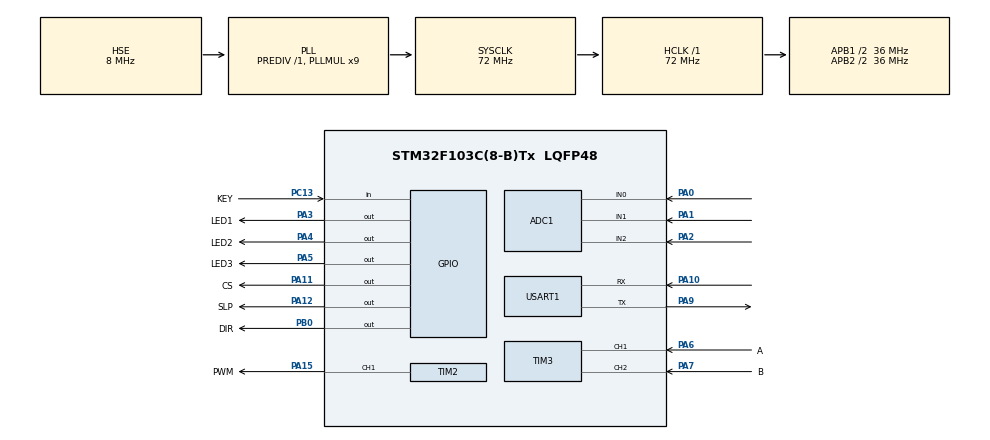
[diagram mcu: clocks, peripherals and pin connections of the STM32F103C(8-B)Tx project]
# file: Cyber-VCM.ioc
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ADC1.Channel-2\#ChannelRegularConversion=ADC_CHANNEL_0
ADC1.Channel-3\#ChannelRegularConversion=ADC_CHANNEL_1
ADC1.Channel-4\#ChannelRegularConversion=ADC_CHANNEL_2
ADC1.ContinuousConvMode=ENABLE
ADC1.DataAlign=ADC_DATAALIGN_RIGHT
ADC1.NbrOfConversion=3
ADC1.NbrOfConversionFlag=1
ADC1.Rank-2\#ChannelRegularConversion=1
ADC1.Rank-3\#ChannelRegularConversion=2
ADC1.Rank-4\#ChannelRegularConversion=3
ADC1.SamplingTime-2\#ChannelRegularConversion=ADC_SAMPLETIME_1CYCLE_5
ADC1.SamplingTime-3\#ChannelRegularConversion=ADC_SAMPLETIME_1CYCLE_5
ADC1.SamplingTime-4\#ChannelRegularConversion=ADC_SAMPLETIME_1CYCLE_5
ADC1.master=1
Dma.ADC1.0.Direction=DMA_PERIPH_TO_MEMORY
Dma.ADC1.0.Instance=DMA1_Channel1
Dma.ADC1.0.MemDataAlignment=DMA_MDATAALIGN_HALFWORD
Dma.ADC1.0.MemInc=DMA_MINC_ENABLE
Dma.ADC1.0.Mode=DMA_CIRCULAR
Dma.ADC1.0.PeriphDataAlignment=DMA_PDATAALIGN_HALFWORD
Dma.ADC1.0.PeriphInc=DMA_PINC_DISABLE
Dma.ADC1.0.Priority=DMA_PRIORITY_LOW
Dma.Request0=ADC1
FREERTOS.Tasks01=DataGetTask,24,128,StartDataGetTask,Default,NULL,Dynamic,NULL,NULL;Control,8,128,StartControlTask,Default,NULL,Dynamic,NULL,NULL
Mcu.Family=STM32F1
Mcu.Name=STM32F103C(8-B)Tx
Mcu.Package=LQFP48
NVIC.ADC1_2_IRQn=true\:5\:0\:false\:false\:true\:true\:true\:true
NVIC.DMA1_Channel1_IRQn=true\:5\:0\:false\:false\:true\:true\:false\:true
NVIC.PriorityGroup=NVIC_PRIORITYGROUP_4
NVIC.TIM1_UP_IRQn=true\:15\:0\:false\:false\:true\:false\:false\:true
NVIC.TimeBase=TIM1_UP_IRQn
NVIC.TimeBaseIP=TIM1
NVIC.USART1_IRQn=true\:5\:0\:false\:false\:true\:true\:true\:true
PA0-WKUP.Signal=SharedAnalog_PA0
PA1.Signal=SharedAnalog_PA1
PA10.Mode=Asynchronous
PA10.Signal=USART1_RX
PA11.GPIO_Label=CS
PA11.Signal=GPIO_Output
PA12.GPIO_Label=SLP
PA12.Signal=GPIO_Output
PA13.Mode=Serial_Wire
PA13.Signal=SYS_JTMS-SWDIO
PA14.Mode=Serial_Wire
PA14.Signal=SYS_JTCK-SWCLK
PA15.GPIO_Label=PWM
PA15.Signal=S_TIM2_CH1_ETR
PA2.Signal=SharedAnalog_PA2
PA3.GPIO_Label=LED1
PA3.Signal=GPIO_Output
PA4.GPIO_Label=LED2
PA4.Signal=GPIO_Output
PA5.GPIO_Label=LED3
PA5.Signal=GPIO_Output
PA6.GPIO_Label=A
PA6.Signal=S_TIM3_CH1
PA7.GPIO_Label=B
PA7.Signal=S_TIM3_CH2
PA9.Mode=Asynchronous
PA9.Signal=USART1_TX
PB0.GPIO_Label=DIR
PB0.Signal=GPIO_Output
PC13-TAMPER-RTC.GPIO_Label=KEY
PC13-TAMPER-RTC.Signal=GPIO_Input
PD0-OSC_IN.Mode=HSE-External-Oscillator
PD0-OSC_IN.Signal=RCC_OSC_IN
PD1-OSC_OUT.Mode=HSE-External-Oscillator
PD1-OSC_OUT.Signal=RCC_OSC_OUT
ProjectManager.HeapSize=0x200
ProjectManager.StackSize=0x400
ProjectManager.TargetToolchain=SW4STM32
RCC.ADCPresc=RCC_ADCPCLK2_DIV6
RCC.AHBFreq_Value=72000000
RCC.APB1CLKDivider=RCC_HCLK_DIV2
RCC.APB1Freq_Value=36000000
RCC.APB1TimFreq_Value=72000000
RCC.APB2CLKDivider=RCC_HCLK_DIV2
RCC.APB2Freq_Value=36000000
RCC.APB2TimFreq_Value=72000000
RCC.HCLKFreq_Value=72000000
RCC.PLLMUL=RCC_PLL_MUL9
RCC.PLLSourceVirtual=RCC_PLLSOURCE_HSE
RCC.SYSCLKFreq_VALUE=72000000
RCC.SYSCLKSource=RCC_SYSCLKSOURCE_PLLCLK
RCC.USBFreq_Value=72000000
SH.S_TIM2_CH1_ETR.0=TIM2_CH1,PWM Generation1 CH1
SH.S_TIM3_CH1.0=TIM3_CH1,Encoder_Interface
SH.S_TIM3_CH2.0=TIM3_CH2,Encoder_Interface
SH.SharedAnalog_PA0.0=GPIO_Analog
SH.SharedAnalog_PA0.1=ADC1_IN0,IN0
SH.SharedAnalog_PA1.0=GPIO_Analog
SH.SharedAnalog_PA1.1=ADC1_IN1,IN1
SH.SharedAnalog_PA2.0=GPIO_Analog
SH.SharedAnalog_PA2.1=ADC1_IN2,IN2
TIM2.Channel-PWM\ Generation1\ CH1=TIM_CHANNEL_1
TIM2.Period=36-1
TIM2.Prescaler=72-1
TIM3.EncoderMode=TIM_ENCODERMODE_TI12
USART1.VirtualMode=VM_ASYNC
VP_FREERTOS_VS_CMSIS_V2.Mode=CMSIS_V2
VP_SYS_VS_tim1.Mode=TIM1
VP_TIM2_VS_ClockSourceINT.Mode=Internal
board=custom

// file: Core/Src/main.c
/* USER CODE BEGIN Header */
/**
  ******************************************************************************
  * @file           : main.c
  * @brief          : Main program body
  ******************************************************************************
  * @attention
  *
  * <h2><center>&copy; Copyright (c) 2021 STMicroelectronics.
  * All rights reserved.</center></h2>
  *
  * This software component is licensed by ST under BSD 3-Clause license,
  * the "License"; You may not use this file except in compliance with the
  * License. You may obtain a copy of the License at:
  *                        opensource.org/licenses/BSD-3-Clause
  *
  ******************************************************************************
  */
/* USER CODE END Header */
#include "main.h"
#include "cmsis_os.h"
#include "adc.h"
#include "dma.h"
#include "tim.h"
#include "usart.h"
#include "gpio.h"

/* USER CODE BEGIN Includes */
#include "oled.h"
#include "retarget.h"
#include "AM26C32.h"
/* USER CODE END Includes */

void SystemClock_Config(void);
void MX_FREERTOS_Init(void);

/* USER CODE BEGIN 0 */
uint32_t VBUS_S, AVCC_C, SENSE_A;
uint32_t ADC_Value[100] = {0};
uint8_t Duty = 3, Dir = 0;
/* USER CODE END 0 */

int main(void)
{

  /* MCU Configuration--------------------------------------------------------*/

  /* Reset of all peripherals, Initializes the Flash interface and the Systick. */
  HAL_Init();

  /* Configure the system clock */
  SystemClock_Config();

  /* Initialize all configured peripherals */
  MX_GPIO_Init();
  MX_ADC1_Init();
  MX_USART1_UART_Init();
  MX_TIM2_Init();
  MX_DMA_Init();
  MX_TIM3_Init();
  /* USER CODE BEGIN 2 */
  OLED_Init();
  OLED_Windows_Style1();
  //Start Usart
  RetargetInit(&huart1);
  //Start ADC DMA Mode
  HAL_ADC_Start_DMA(&hadc1, ADC_Value, 100);
  printf("ADC DMA Init Finished\n");
  //Start PWM
  HAL_TIM_PWM_Start(&htim2, TIM_CHANNEL_1);
  //Start Encoder
  //HAL_TIM_Encoder_Start(&htim3, TIM_CHANNEL_ALL);
  //Start H Birdge
  HAL_GPIO_WritePin(SLP_GPIO_Port, SLP_Pin, GPIO_PIN_SET);
  HAL_GPIO_WritePin(CS_GPIO_Port, CS_Pin, GPIO_PIN_SET);

  VCMEncoderInit();

  /* USER CODE END 2 */

  /* Init scheduler */
  osKernelInitialize();  /* Call init function for freertos objects (in freertos.c) */
  MX_FREERTOS_Init();
  /* Start scheduler */
  osKernelStart();

  /* We should never get here as control is now taken by the scheduler */
  /* Infinite loop */
  while (1)
  {
  }
}

void SystemClock_Config(void)
{
  RCC_OscInitTypeDef RCC_OscInitStruct = {0};
  RCC_ClkInitTypeDef RCC_ClkInitStruct = {0};
  RCC_PeriphCLKInitTypeDef PeriphClkInit = {0};

  /** Initializes the RCC Oscillators according to the specified parameters
  * in the RCC_OscInitTypeDef structure.
  */
  RCC_OscInitStruct.OscillatorType = RCC_OSCILLATORTYPE_HSE;
  RCC_OscInitStruct.HSEState = RCC_HSE_ON;
  RCC_OscInitStruct.HSEPredivValue = RCC_HSE_PREDIV_DIV1;
  RCC_OscInitStruct.HSIState = RCC_HSI_ON;
  RCC_OscInitStruct.PLL.PLLState = RCC_PLL_ON;
  RCC_OscInitStruct.PLL.PLLSource = RCC_PLLSOURCE_HSE;
  RCC_OscInitStruct.PLL.PLLMUL = RCC_PLL_MUL9;
  if (HAL_RCC_OscConfig(&RCC_OscInitStruct) != HAL_OK)
  {
    Error_Handler();
  }
  /** Initializes the CPU, AHB and APB buses clocks
  */
  RCC_ClkInitStruct.ClockType = RCC_CLOCKTYPE_HCLK|RCC_CLOCKTYPE_SYSCLK
                              |RCC_CLOCKTYPE_PCLK1|RCC_CLOCKTYPE_PCLK2;
  RCC_ClkInitStruct.SYSCLKSource = RCC_SYSCLKSOURCE_PLLCLK;
  RCC_ClkInitStruct.AHBCLKDivider = RCC_SYSCLK_DIV1;
  RCC_ClkInitStruct.APB1CLKDivider = RCC_HCLK_DIV2;
  RCC_ClkInitStruct.APB2CLKDivider = RCC_HCLK_DIV2;

  if (HAL_RCC_ClockConfig(&RCC_ClkInitStruct, FLASH_LATENCY_2) != HAL_OK)
  {
    Error_Handler();
  }
  PeriphClkInit.PeriphClockSelection = RCC_PERIPHCLK_ADC;
  PeriphClkInit.AdcClockSelection = RCC_ADCPCLK2_DIV6;
  if (HAL_RCCEx_PeriphCLKConfig(&PeriphClkInit) != HAL_OK)
  {
    Error_Handler();
  }
}

void HAL_TIM_PeriodElapsedCallback(TIM_HandleTypeDef *htim)
{
  if (htim->Instance == TIM1) {
    HAL_IncTick();
  }
}

void Error_Handler(void)
{
  __disable_irq();
  while (1)
  {
  }
}

/************************ (C) COPYRIGHT STMicroelectronics *****END OF FILE****/

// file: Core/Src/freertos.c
/* USER CODE BEGIN Header */
/**
  ******************************************************************************
  * File Name          : freertos.c
  * Description        : Code for freertos applications
  ******************************************************************************
  * @attention
  *
  * <h2><center>&copy; Copyright (c) 2021 STMicroelectronics.
  * All rights reserved.</center></h2>
  *
  * This software component is licensed by ST under Ultimate Liberty license
  * SLA0044, the "License"; You may not use this file except in compliance with
  * the License. You may obtain a copy of the License at:
  *                             www.st.com/SLA0044
  *
  ******************************************************************************
  */
/* USER CODE END Header */

#include "FreeRTOS.h"
#include "task.h"
#include "main.h"
#include "cmsis_os.h"

/* USER CODE BEGIN Includes */
#include "retarget.h"
#include "AM26C32.h"
#include "SpeedPID.h"
/* USER CODE END Includes */

/* Definitions for DataGetTask */
osThreadId_t DataGetTaskHandle;
const osThreadAttr_t DataGetTask_attributes = {
  .name = "DataGetTask",
  .stack_size = 128 * 4,
  .priority = (osPriority_t) osPriorityNormal,
};
/* Definitions for Control */
osThreadId_t ControlHandle;
const osThreadAttr_t Control_attributes = {
  .name = "Control",
  .stack_size = 128 * 4,
  .priority = (osPriority_t) osPriorityLow,
};

void StartDataGetTask(void *argument);
void StartControlTask(void *argument);

void MX_FREERTOS_Init(void); /* (MISRA C 2004 rule 8.1) */

void MX_FREERTOS_Init(void) {

  /* Create the thread(s) */
  /* creation of DataGetTask */
  DataGetTaskHandle = osThreadNew(StartDataGetTask, NULL, &DataGetTask_attributes);

  /* creation of Control */
  ControlHandle = osThreadNew(StartControlTask, NULL, &Control_attributes);

}

void StartDataGetTask(void *argument)
{
  float speed = 1.2345f;
  /* USER CODE BEGIN StartDataGetTask */
  /* Infinite loop */
  for(;;)
  {
      //speed = GetVCMPreSpeed();
      printf("speed:%0.3f\n", speed);
      osDelay(100);
  }
  /* USER CODE END StartDataGetTask */
}

void StartControlTask(void *argument)
{
  /* USER CODE BEGIN StartControlTask */
  /* Infinite loop */
  for(;;)
  {
      HAL_GPIO_TogglePin(LED2_GPIO_Port, LED2_Pin);
      osDelay(1000);
  }
  /* USER CODE END StartControlTask */
}

/************************ (C) COPYRIGHT STMicroelectronics *****END OF FILE****/
